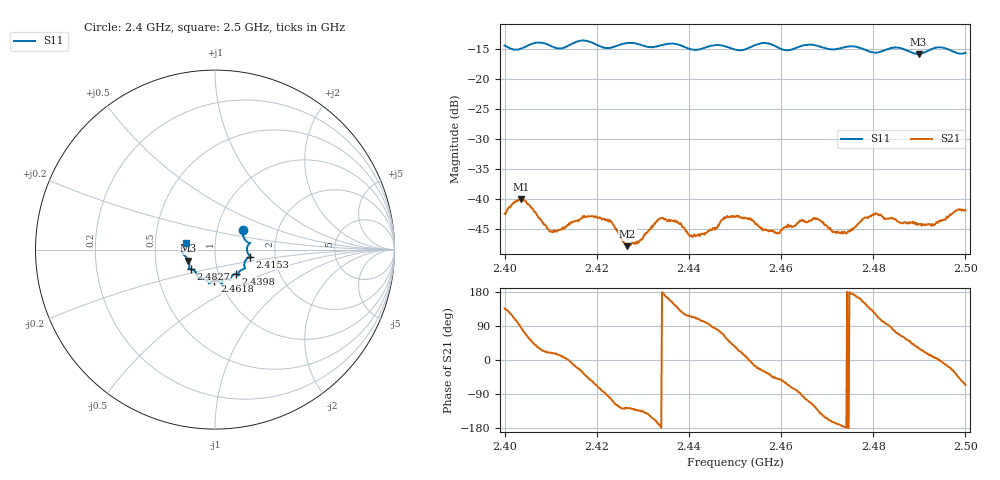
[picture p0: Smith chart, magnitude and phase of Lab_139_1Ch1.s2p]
# Hz S RI R 50
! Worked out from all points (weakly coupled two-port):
!   601 points, 2.4 GHz to 2.5 GHz, reference 50 ohm
!   highest |S21| = -39.97 dB at 2.4035 GHz (marker M1); lowest = -47.8 dB at 2.4267 GHz (marker M2)
!   lowest |S11| = -15.9 dB at 2.4898 GHz (marker M3), VSWR 1.38, Z = 36.9 - j4.62 ohm
!   |S11| at or under -10 dB: start of sweep to end of sweep
!   S12 and S22 are empty: the file has one direction only
!   S11 on the Smith chart (normalised r, x): 2.4 GHz: 1.33, +0.29; 2.4153 GHz: 1.48, -0.12; 2.4398 GHz: 1.21, -0.34; 2.4618 GHz: 0.94, -0.33; 2.4827 GHz: 0.75, -0.17; 2.5 GHz: 0.72, +0.06
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2.4e9  0.1553 0.1069  -0.00547 0.00529  0 0  0 0
2.4035e9  0.1694 0.0524  0.00052 0.01  0 0  0 0
2.410167e9  0.1844 0.025  0.00511 0.00182  0 0  0 0
2.415333e9  0.1967 -0.0388  0.00637 -0.00176  0 0  0 0
2.416667e9  0.2026 -0.0429  0.00604 -0.00346  0 0  0 0
2.422833e9  0.1637 -0.0745  -0.00103 -0.00645  0 0  0 0
2.426667e9  0.1685 -0.1033  -0.0025 -0.00323  0 0  0 0
2.429333e9  0.1592 -0.1076  -0.00314 -0.00331  0 0  0 0
2.433333e9  0.1296 -0.1341  -0.00667 -0.00149  0 0  0 0
2.437833e9  0.1292 -0.1408  -0.0044 0.00456  0 0  0 0
2.439833e9  0.1152 -0.1357  -0.00232 0.00462  0 0  0 0
2.45e9  0.0651 -0.1619  0.00579 0.00415  0 0  0 0
2.459e9  0.0312 -0.1814  0.00344 -0.00392  0 0  0 0
2.461833e9  -0.003 -0.1729  0.00214 -0.00554  0 0  0 0
2.466667e9  -0.0347 -0.1882  -0.0029 -0.00612  0 0  0 0
2.473833e9  -0.0877 -0.1603  -0.00529 -0.000284  0 0  0 0
2.480167e9  -0.1112 -0.1212  -0.00426 0.00621  0 0  0 0
2.482667e9  -0.1349 -0.1086  -0.000808 0.00682  0 0  0 0
2.483333e9  -0.14 -0.1083  -0.000191 0.00693  0 0  0 0
2.489833e9  -0.1481 -0.061  0.00528 0.00323  0 0  0 0
2.494333e9  -0.1809 -0.0214  0.00666 -0.000164  0 0  0 0
2.5e9  -0.1593 0.0391  0.00327 -0.00746  0 0  0 0
